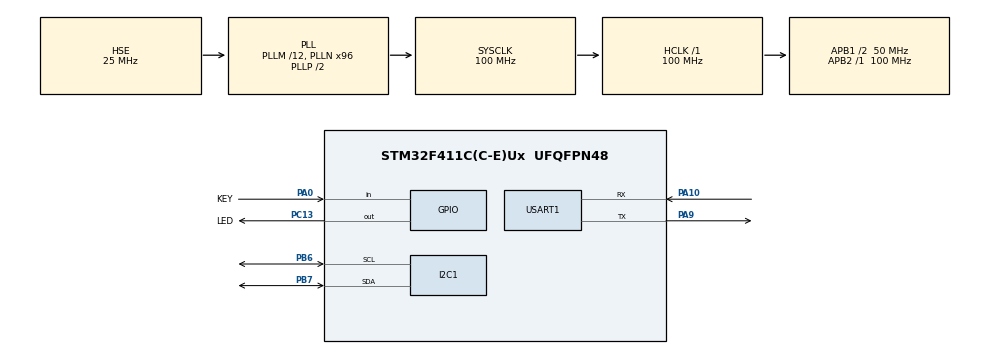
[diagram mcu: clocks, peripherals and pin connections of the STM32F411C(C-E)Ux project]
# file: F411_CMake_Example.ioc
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FREERTOS.Tasks01=BlinkLed,24,128,BlinkLedFnc,Default,NULL,Dynamic,NULL,NULL;QuantumVariable,8,128,QuantumVariableFnc,Default,NULL,Dynamic,NULL,NULL;DisplayHello,8,128,DisplayHelloFnc,Default,NULL,Dynamic,NULL,NULL
FREERTOS.configUSE_NEWLIB_REENTRANT=1
Mcu.Family=STM32F4
Mcu.Name=STM32F411C(C-E)Ux
Mcu.Package=UFQFPN48
NVIC.PriorityGroup=NVIC_PRIORITYGROUP_4
NVIC.TIM1_TRG_COM_TIM11_IRQn=true\:15\:0\:false\:false\:true\:false\:false\:true\:true
NVIC.TimeBase=TIM1_TRG_COM_TIM11_IRQn
NVIC.TimeBaseIP=TIM11
PA0-WKUP.GPIO_Label=KEY
PA0-WKUP.GPIO_PuPd=GPIO_PULLUP
PA0-WKUP.Signal=GPIO_Input
PA10.Mode=Asynchronous
PA10.Signal=USART1_RX
PA13.Mode=Trace_Asynchronous_SW
PA13.Signal=SYS_JTMS-SWDIO
PA14.Mode=Trace_Asynchronous_SW
PA14.Signal=SYS_JTCK-SWCLK
PA9.Mode=Asynchronous
PA9.Signal=USART1_TX
PB3.Mode=Trace_Asynchronous_SW
PB3.Signal=SYS_JTDO-SWO
PB6.Mode=I2C
PB6.Signal=I2C1_SCL
PB7.Mode=I2C
PB7.Signal=I2C1_SDA
PC13-ANTI_TAMP.GPIO_Label=LED
PC13-ANTI_TAMP.GPIO_PuPd=GPIO_PULLUP
PC13-ANTI_TAMP.PinState=GPIO_PIN_SET
PC13-ANTI_TAMP.Signal=GPIO_Output
PC14-OSC32_IN.Mode=LSE-External-Oscillator
PC14-OSC32_IN.Signal=RCC_OSC32_IN
PC15-OSC32_OUT.Mode=LSE-External-Oscillator
PC15-OSC32_OUT.Signal=RCC_OSC32_OUT
PH0\ -\ OSC_IN.Mode=HSE-External-Oscillator
PH0\ -\ OSC_IN.Signal=RCC_OSC_IN
PH1\ -\ OSC_OUT.Mode=HSE-External-Oscillator
PH1\ -\ OSC_OUT.Signal=RCC_OSC_OUT
ProjectManager.HeapSize=0x200
ProjectManager.StackSize=0x400
ProjectManager.TargetToolchain=CMake
RCC.48MHZClocksFreq_Value=50000000
RCC.AHBFreq_Value=100000000
RCC.APB1CLKDivider=RCC_HCLK_DIV2
RCC.APB1Freq_Value=50000000
RCC.APB1TimFreq_Value=100000000
RCC.APB2Freq_Value=100000000
RCC.APB2TimFreq_Value=100000000
RCC.CSICalibrationValue=32
RCC.CortexFreq_Value=100000000
RCC.HCLKFreq_Value=100000000
RCC.HSE_VALUE=25000000
RCC.HSI_VALUE=16000000
RCC.PLL1_VCI_Range=RCC_PLL1VCIRANGE_2
RCC.PLL1_VCO_SEL=RCC_PLL1VCOWIDE
RCC.PLL2FRACN=0
RCC.PLL2_VCI_Range=RCC_PLL2VCIRANGE_3
RCC.PLL2_VCO_SEL=RCC_PLL2VCOWIDE
RCC.PLL3FRACN=0
RCC.PLL3_VCI_Range=RCC_PLL3VCIRANGE_3
RCC.PLL3_VCO_SEL=RCC_PLL3VCOWIDE
RCC.PLLFRACN=0
RCC.PLLM=12
RCC.PLLN=96
RCC.PLLSourceVirtual=RCC_PLLSOURCE_HSE
RCC.ProductRev=revV
RCC.SYSCLKFreq_VALUE=100000000
RCC.SYSCLKSource=RCC_SYSCLKSOURCE_PLLCLK
RCC.VCOOutputFreq_Value=200000000
USART1.VirtualMode=VM_ASYNC
VP_FREERTOS_VS_CMSIS_V2.Mode=CMSIS_V2
VP_SYS_VS_tim11.Mode=TIM11
board=custom

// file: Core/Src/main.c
/* USER CODE BEGIN Header */
/**
  ******************************************************************************
  * @file           : main.c
  * @brief          : Main program body
  ******************************************************************************
  * @attention
  *
  * Copyright (c) 2025 STMicroelectronics.
  * All rights reserved.
  *
  * This software is licensed under terms that can be found in the LICENSE file
  * in the root directory of this software component.
  * If no LICENSE file comes with this software, it is provided AS-IS.
  *
  ******************************************************************************
  */
/* USER CODE END Header */
#include "main.h"
#include "cmsis_os.h"

/* USER CODE BEGIN Includes */
#include <stdlib.h>
#include <stdint.h>
#include <stdbool.h>
#include "u8g2.h"
#include "u8x8.h"
/* USER CODE END Includes */

I2C_HandleTypeDef hi2c1;

UART_HandleTypeDef huart1;

/* Definitions for BlinkLed */
osThreadId_t BlinkLedHandle;
const osThreadAttr_t BlinkLed_attributes = {
  .name = "BlinkLed",
  .stack_size = 128 * 4,
  .priority = (osPriority_t) osPriorityNormal,
};
/* Definitions for QuantumVariable */
osThreadId_t QuantumVariableHandle;
const osThreadAttr_t QuantumVariable_attributes = {
  .name = "QuantumVariable",
  .stack_size = 128 * 4,
  .priority = (osPriority_t) osPriorityLow,
};
/* Definitions for DisplayHello */
osThreadId_t DisplayHelloHandle;
const osThreadAttr_t DisplayHello_attributes = {
  .name = "DisplayHello",
  .stack_size = 128 * 4,
  .priority = (osPriority_t) osPriorityLow,
};
/* USER CODE BEGIN PV */
static uint8_t QuantumVariable = 'A';
u8g2_t u8g2;
/* USER CODE END PV */

void SystemClock_Config(void);
static void MX_GPIO_Init(void);
static void MX_I2C1_Init(void);
static void MX_USART1_UART_Init(void);
void BlinkLedFnc(void *argument);
void QuantumVariableFnc(void *argument);
void DisplayHelloFnc(void *argument);

/* USER CODE BEGIN 0 */
static uint8_t u8x8_byte_stm32_hw_i2c(u8x8_t *u8x8, uint8_t msg, uint8_t arg_int, void *arg_ptr)
{
  static uint8_t buffer[32];
  static uint8_t buf_idx;
  uint8_t *data;

  switch (msg)
  {
  case U8X8_MSG_BYTE_INIT:
    return 1;

  case U8X8_MSG_BYTE_START_TRANSFER:
    buf_idx = 0;
    return 1;

  case U8X8_MSG_BYTE_SEND:
    data = (uint8_t *)arg_ptr;
    while (arg_int--)
    {
      if (buf_idx >= sizeof(buffer))
      {
        HAL_I2C_Master_Transmit(&hi2c1, u8x8_GetI2CAddress(u8x8), buffer, buf_idx, HAL_MAX_DELAY);
        buf_idx = 0;
      }
      buffer[buf_idx++] = *data++;
    }
    return 1;

  case U8X8_MSG_BYTE_END_TRANSFER:
    if (buf_idx > 0)
    {
      HAL_I2C_Master_Transmit(&hi2c1, u8x8_GetI2CAddress(u8x8), buffer, buf_idx, HAL_MAX_DELAY);
      buf_idx = 0;
    }
    return 1;

  case U8X8_MSG_BYTE_SET_DC:
    return 1;
  }
  return 0;
}

static uint8_t u8x8_gpio_and_delay_stm32(u8x8_t *u8x8, uint8_t msg, uint8_t arg_int, void *arg_ptr)
{
  switch (msg)
  {
  case U8X8_MSG_GPIO_AND_DELAY_INIT:
    return 1;

  case U8X8_MSG_DELAY_MILLI:
    HAL_Delay(arg_int);
    return 1;

  case U8X8_MSG_DELAY_10MICRO:
    return 1;

  case U8X8_MSG_GPIO_RESET:
    // HAL_GPIO_WritePin(RESET_GPIO_Port, RESET_Pin, arg_int);
    return 1;

  case U8X8_MSG_GPIO_CS:
  case U8X8_MSG_GPIO_DC:
    return 1;
  }
  return 0;
}
/* USER CODE END 0 */

int main(void)
{

  /* MCU Configuration--------------------------------------------------------*/

  /* Reset of all peripherals, Initializes the Flash interface and the Systick. */
  HAL_Init();

  /* Configure the system clock */
  SystemClock_Config();

  /* Initialize all configured peripherals */
  MX_GPIO_Init();
  MX_I2C1_Init();
  MX_USART1_UART_Init();

  /* Init scheduler */
  osKernelInitialize();

  /* Create the thread(s) */
  /* creation of BlinkLed */
  BlinkLedHandle = osThreadNew(BlinkLedFnc, NULL, &BlinkLed_attributes);

  /* creation of QuantumVariable */
  QuantumVariableHandle = osThreadNew(QuantumVariableFnc, NULL, &QuantumVariable_attributes);

  /* creation of DisplayHello */
  DisplayHelloHandle = osThreadNew(DisplayHelloFnc, NULL, &DisplayHello_attributes);

  /* Start scheduler */
  osKernelStart();

  /* We should never get here as control is now taken by the scheduler */

  /* Infinite loop */
  while (1)
  {

  }
}

void SystemClock_Config(void)
{
  RCC_OscInitTypeDef RCC_OscInitStruct = {0};
  RCC_ClkInitTypeDef RCC_ClkInitStruct = {0};

  /** Configure the main internal regulator output voltage
  */
  __HAL_RCC_PWR_CLK_ENABLE();
  __HAL_PWR_VOLTAGESCALING_CONFIG(PWR_REGULATOR_VOLTAGE_SCALE1);

  /** Initializes the RCC Oscillators according to the specified parameters
  * in the RCC_OscInitTypeDef structure.
  */
  RCC_OscInitStruct.OscillatorType = RCC_OSCILLATORTYPE_HSE;
  RCC_OscInitStruct.HSEState = RCC_HSE_ON;
  RCC_OscInitStruct.PLL.PLLState = RCC_PLL_ON;
  RCC_OscInitStruct.PLL.PLLSource = RCC_PLLSOURCE_HSE;
  RCC_OscInitStruct.PLL.PLLM = 12;
  RCC_OscInitStruct.PLL.PLLN = 96;
  RCC_OscInitStruct.PLL.PLLP = RCC_PLLP_DIV2;
  RCC_OscInitStruct.PLL.PLLQ = 4;
  if (HAL_RCC_OscConfig(&RCC_OscInitStruct) != HAL_OK)
  {
    Error_Handler();
  }

  /** Initializes the CPU, AHB and APB buses clocks
  */
  RCC_ClkInitStruct.ClockType = RCC_CLOCKTYPE_HCLK|RCC_CLOCKTYPE_SYSCLK
                              |RCC_CLOCKTYPE_PCLK1|RCC_CLOCKTYPE_PCLK2;
  RCC_ClkInitStruct.SYSCLKSource = RCC_SYSCLKSOURCE_PLLCLK;
  RCC_ClkInitStruct.AHBCLKDivider = RCC_SYSCLK_DIV1;
  RCC_ClkInitStruct.APB1CLKDivider = RCC_HCLK_DIV2;
  RCC_ClkInitStruct.APB2CLKDivider = RCC_HCLK_DIV1;

  if (HAL_RCC_ClockConfig(&RCC_ClkInitStruct, FLASH_LATENCY_3) != HAL_OK)
  {
    Error_Handler();
  }
}

static void MX_I2C1_Init(void)
{

  hi2c1.Instance = I2C1;
  hi2c1.Init.ClockSpeed = 100000;
  hi2c1.Init.DutyCycle = I2C_DUTYCYCLE_2;
  hi2c1.Init.OwnAddress1 = 0;
  hi2c1.Init.AddressingMode = I2C_ADDRESSINGMODE_7BIT;
  hi2c1.Init.DualAddressMode = I2C_DUALADDRESS_DISABLE;
  hi2c1.Init.OwnAddress2 = 0;
  hi2c1.Init.GeneralCallMode = I2C_GENERALCALL_DISABLE;
  hi2c1.Init.NoStretchMode = I2C_NOSTRETCH_DISABLE;
  if (HAL_I2C_Init(&hi2c1) != HAL_OK)
  {
    Error_Handler();
  }

}

static void MX_USART1_UART_Init(void)
{

  huart1.Instance = USART1;
  huart1.Init.BaudRate = 115200;
  huart1.Init.WordLength = UART_WORDLENGTH_8B;
  huart1.Init.StopBits = UART_STOPBITS_1;
  huart1.Init.Parity = UART_PARITY_NONE;
  huart1.Init.Mode = UART_MODE_TX_RX;
  huart1.Init.HwFlowCtl = UART_HWCONTROL_NONE;
  huart1.Init.OverSampling = UART_OVERSAMPLING_16;
  if (HAL_UART_Init(&huart1) != HAL_OK)
  {
    Error_Handler();
  }

}

static void MX_GPIO_Init(void)
{
  GPIO_InitTypeDef GPIO_InitStruct = {0};

  /* GPIO Ports Clock Enable */
  __HAL_RCC_GPIOC_CLK_ENABLE();
  __HAL_RCC_GPIOH_CLK_ENABLE();
  __HAL_RCC_GPIOA_CLK_ENABLE();
  __HAL_RCC_GPIOB_CLK_ENABLE();

  /*Configure GPIO pin Output Level */
  HAL_GPIO_WritePin(LED_GPIO_Port, LED_Pin, GPIO_PIN_SET);

  /*Configure GPIO pin : LED_Pin */
  GPIO_InitStruct.Pin = LED_Pin;
  GPIO_InitStruct.Mode = GPIO_MODE_OUTPUT_PP;
  GPIO_InitStruct.Pull = GPIO_PULLUP;
  GPIO_InitStruct.Speed = GPIO_SPEED_FREQ_LOW;
  HAL_GPIO_Init(LED_GPIO_Port, &GPIO_InitStruct);

  /*Configure GPIO pin : KEY_Pin */
  GPIO_InitStruct.Pin = KEY_Pin;
  GPIO_InitStruct.Mode = GPIO_MODE_INPUT;
  GPIO_InitStruct.Pull = GPIO_PULLUP;
  HAL_GPIO_Init(KEY_GPIO_Port, &GPIO_InitStruct);

}

void BlinkLedFnc(void *argument)
{
  /* USER CODE BEGIN 5 */
  /* Infinite loop */
  for(;;)
  {
    HAL_GPIO_TogglePin(LED_GPIO_Port, LED_Pin);
    osDelay(1000);
  }
  /* USER CODE END 5 */
}

void QuantumVariableFnc(void *argument)
{
  /* USER CODE BEGIN QuantumVariableFnc */
  srand(HAL_GetTick());
  /* Infinite loop */
  for(;;)
  {
    QuantumVariable = 'A' + (rand() % 26);
    osDelay(1);
  }
  /* USER CODE END QuantumVariableFnc */
}

void DisplayHelloFnc(void *argument)
{
  /* USER CODE BEGIN DisplayHelloFnc */
  u8g2_Setup_ssd1306_i2c_128x32_univision_f(
    &u8g2,
    U8G2_R0,
    u8x8_byte_stm32_hw_i2c,
    u8x8_gpio_and_delay_stm32);

  u8x8_SetI2CAddress(&u8g2.u8x8, 0x3C << 1);

  u8g2_InitDisplay(&u8g2);
  u8g2_SetPowerSave(&u8g2, 0);

  bool message = false;
  /* Infinite loop */
  for(;;)
  {
    if(HAL_GPIO_ReadPin(KEY_GPIO_Port, KEY_Pin) == GPIO_PIN_RESET) {
      u8g2_ClearBuffer(&u8g2);
      u8g2_SetFont(&u8g2, u8g2_font_6x13_tr);
      u8g2_DrawStr(&u8g2, 0, 24, "Hello Human >:)");
      u8g2_SendBuffer(&u8g2);
      message = false;
      osDelay(2000);
    }

    if(!message){
      u8g2_ClearBuffer(&u8g2);
      u8g2_SetFont(&u8g2, u8g2_font_6x13_tr);
      u8g2_DrawStr(&u8g2, 0, 24, "Hello world!");
      u8g2_SendBuffer(&u8g2);
      message = true;
    }

    osDelay(150);
  }
  /* USER CODE END DisplayHelloFnc */
}

void HAL_TIM_PeriodElapsedCallback(TIM_HandleTypeDef *htim)
{
  if (htim->Instance == TIM11)
  {
    HAL_IncTick();
  }
}

void Error_Handler(void)
{
  __disable_irq();
  while (1)
  {
  }
}
